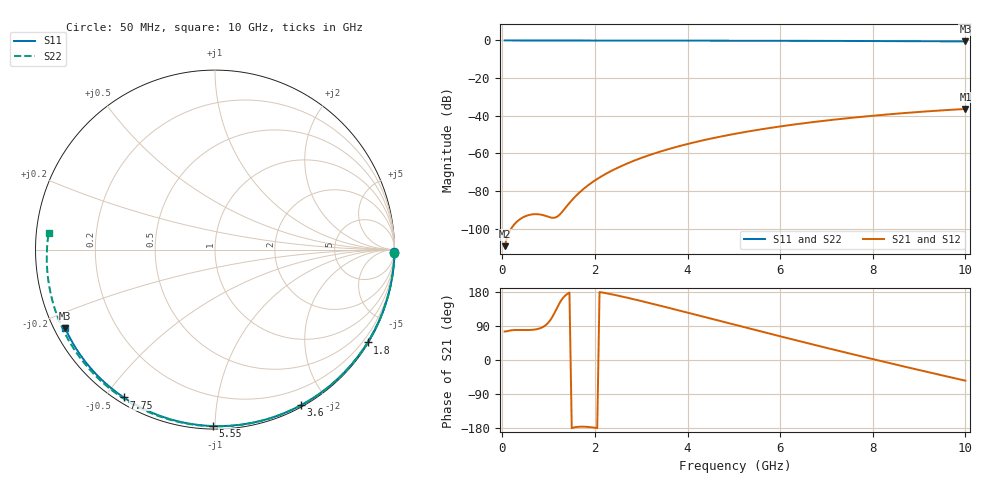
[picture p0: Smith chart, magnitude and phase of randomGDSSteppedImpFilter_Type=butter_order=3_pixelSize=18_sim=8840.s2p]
! freq	dB(S11)	phase(S11)	dB(S12)	phase(S12)
!  dB(S21)	phase(S21)	dB(S22)	phase(S22)
!S-par simulation data
#  GHz  S  DB  R 50
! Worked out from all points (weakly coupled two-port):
!   200 points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, 50 MHz to 10 GHz, reference 50 ohm
!   highest |S21| = -36.41 dB at 10 GHz (marker M1); lowest = -109.3 dB at 50 MHz (marker M2)
!   lowest |S11| = -0.5 dB at 10 GHz (marker M3), VSWR 33.94, Z = 1.56 - j12.4 ohm
!   |S11| at or under -10 dB: nowhere
!   |S22| runs from -0.6 to 0.0 dB; largest |S21 - S12| = 0
!   S11 on the Smith chart (normalised r, x): 50 MHz: open; 1.8 GHz: 0.03, -3.57; 3.6 GHz: 0.02, -1.70; 5.55 GHz: 0.02, -0.99; 7.75 GHz: 0.02, -0.56; 10 GHz: 0.03, -0.25
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0.05  -0.00 -0.9  -109.34 75.2  -109.34 75.2  -0.00 -1.0
0.45  -0.01 -8.0  -93.98 79.1  -93.98 79.1  -0.01 -9.2
0.85  -0.02 -15.0  -92.66 85.4  -92.66 85.4  -0.02 -17.3
1.25  -0.03 -21.9  -92.30 153.2  -92.30 153.2  -0.03 -25.3
1.7  -0.04 -29.6  -80.06 -175.9  -80.06 -175.9  -0.04 -34.3
1.75  -0.04 -30.5  -79.00 -175.9  -79.00 -175.9  -0.04 -35.3
1.8  -0.04 -31.3  -77.99 -176.2  -77.99 -176.2  -0.05 -36.2
2.1  -0.05 -36.4  -72.85 179.4  -72.85 179.4  -0.05 -42.1
2.45  -0.05 -42.3  -68.16 171.1  -68.16 171.1  -0.06 -48.9
2.9  -0.06 -49.7  -63.38 158.5  -63.38 158.5  -0.07 -57.5
3.4  -0.08 -57.8  -59.15 143.6  -59.15 143.6  -0.09 -66.9
3.6  -0.08 -61.0  -57.68 137.4  -57.68 137.4  -0.09 -70.6
4.3  -0.10 -72.0  -53.27 115.6  -53.27 115.6  -0.12 -83.3
5.05  -0.13 -83.4  -49.50 92.1  -49.50 92.1  -0.15 -96.6
5.55  -0.15 -90.7  -47.38 76.5  -47.38 76.5  -0.17 -105.3
6.1  -0.18 -98.7  -45.35 59.5  -45.35 59.5  -0.21 -114.8
6.7  -0.21 -107.2  -43.42 41.1  -43.42 41.1  -0.25 -125.1
7.75  -0.28 -121.7  -40.60 9.7  -40.60 9.7  -0.33 -143.3
8.35  -0.33 -129.8  -39.26 -7.8  -39.26 -7.8  -0.40 -153.9
9.2  -0.42 -141.3  -37.64 -32.1  -37.64 -32.1  -0.50 -169.7
9.6  -0.46 -146.8  -36.99 -43.4  -36.99 -43.4  -0.55 -177.6
10  -0.51 -152.2  -36.41 -54.5  -36.41 -54.5  -0.61 174.2
